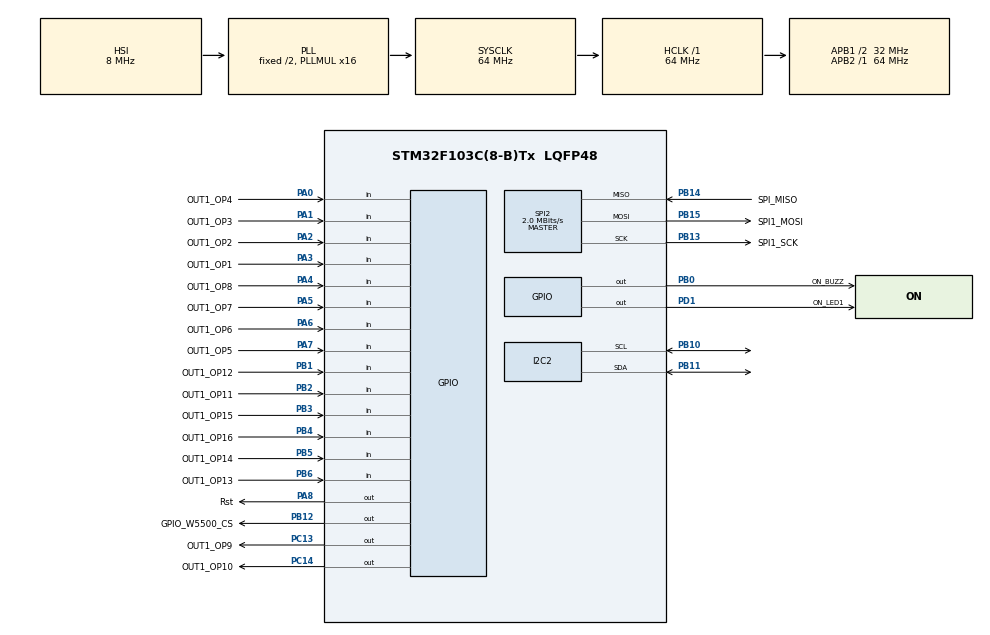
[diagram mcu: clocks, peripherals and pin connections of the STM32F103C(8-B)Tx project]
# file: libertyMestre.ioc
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FREERTOS.Tasks01=ethernetTask,32,128,StartEthernet,Default,NULL,Dynamic,NULL,NULL;readInput1Task,24,128,StartReadInput1,Default,NULL,Dynamic,NULL,NULL;readInput2Task,24,128,StartReadInput2,Default,NULL,Dynamic,NULL,NULL;readInput3Task,24,128,StartReadInput3,Default,NULL,Dynamic,NULL,NULL;readInput4Task,24,128,StartReadInput4,Default,NULL,Dynamic,NULL,NULL
FREERTOS.configTOTAL_HEAP_SIZE=3500
Mcu.Family=STM32F1
Mcu.Name=STM32F103C(8-B)Tx
Mcu.Package=LQFP48
NVIC.PriorityGroup=NVIC_PRIORITYGROUP_4
NVIC.TIM1_UP_IRQn=true\:0\:0\:false\:false\:true\:false\:false\:true
NVIC.TimeBase=TIM1_UP_IRQn
NVIC.TimeBaseIP=TIM1
PA0-WKUP.GPIO_Label=OUT1_OP4
PA0-WKUP.Signal=GPIO_Input
PA1.GPIO_Label=OUT1_OP3
PA1.Signal=GPIO_Input
PA13.Mode=Serial_Wire
PA13.Signal=SYS_JTMS-SWDIO
PA14.Mode=Serial_Wire
PA14.Signal=SYS_JTCK-SWCLK
PA2.GPIO_Label=OUT1_OP2
PA2.Signal=GPIO_Input
PA3.GPIO_Label=OUT1_OP1
PA3.Signal=GPIO_Input
PA4.GPIO_Label=OUT1_OP8
PA4.Signal=GPIO_Input
PA5.GPIO_Label=OUT1_OP7
PA5.Signal=GPIO_Input
PA6.GPIO_Label=OUT1_OP6
PA6.Signal=GPIO_Input
PA7.GPIO_Label=OUT1_OP5
PA7.Signal=GPIO_Input
PA8.GPIO_Label=Rst
PA8.GPIO_ModeDefaultOutputPP=GPIO_MODE_OUTPUT_PP
PA8.GPIO_PuPd=GPIO_PULLUP
PA8.PinState=GPIO_PIN_SET
PA8.Signal=GPIO_Output
PB0.GPIO_Label=ON_BUZZ
PB0.Signal=GPIO_Output
PB1.GPIO_Label=OUT1_OP12
PB1.Signal=GPIO_Input
PB10.Mode=I2C
PB10.Signal=I2C2_SCL
PB11.Mode=I2C
PB11.Signal=I2C2_SDA
PB12.GPIO_Label=GPIO_W5500_CS
PB12.Signal=GPIO_Output
PB13.GPIO_Label=SPI1_SCK
PB13.Mode=Full_Duplex_Master
PB13.Signal=SPI2_SCK
PB14.GPIO_Label=SPI_MISO
PB14.Mode=Full_Duplex_Master
PB14.Signal=SPI2_MISO
PB15.GPIO_Label=SPI1_MOSI
PB15.Mode=Full_Duplex_Master
PB15.Signal=SPI2_MOSI
PB2.GPIO_Label=OUT1_OP11
PB2.Signal=GPIO_Input
PB3.GPIO_Label=OUT1_OP15
PB3.Signal=GPIO_Input
PB4.GPIO_Label=OUT1_OP16
PB4.Signal=GPIO_Input
PB5.GPIO_Label=OUT1_OP14
PB5.Signal=GPIO_Input
PB6.GPIO_Label=OUT1_OP13
PB6.Signal=GPIO_Input
PC13-TAMPER-RTC.GPIO_Label=OUT1_OP9
PC13-TAMPER-RTC.Signal=GPIO_Output
PC14-OSC32_IN.GPIO_Label=OUT1_OP10
PC14-OSC32_IN.Signal=GPIO_Output
PD1-OSC_OUT.GPIO_Label=ON_LED1
PD1-OSC_OUT.Signal=GPIO_Output
ProjectManager.HeapSize=0x200
ProjectManager.StackSize=0x400
ProjectManager.TargetToolchain=STM32CubeIDE
RCC.AHBFreq_Value=64000000
RCC.APB1CLKDivider=RCC_HCLK_DIV2
RCC.APB1Freq_Value=32000000
RCC.APB1TimFreq_Value=64000000
RCC.APB2Freq_Value=64000000
RCC.APB2TimFreq_Value=64000000
RCC.HCLKFreq_Value=64000000
RCC.PLLMUL=RCC_PLL_MUL16
RCC.SYSCLKFreq_VALUE=64000000
RCC.SYSCLKSource=RCC_SYSCLKSOURCE_PLLCLK
RCC.USBFreq_Value=64000000
SPI2.BaudRatePrescaler=SPI_BAUDRATEPRESCALER_16
SPI2.CalculateBaudRate=2.0 MBits/s
SPI2.Direction=SPI_DIRECTION_2LINES
SPI2.Mode=SPI_MODE_MASTER
SPI2.VirtualType=VM_MASTER
VP_FREERTOS_VS_CMSIS_V2.Mode=CMSIS_V2
VP_SYS_VS_tim1.Mode=TIM1
board=custom

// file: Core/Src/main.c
/* USER CODE BEGIN Header */
/**
  ******************************************************************************
  * @file           : main.c
  * @brief          : Main program body
  ******************************************************************************
  * @attention
  *
  * <h2><center>&copy; Copyright (c) 2021 STMicroelectronics.
  * All rights reserved.</center></h2>
  *
  * This software component is licensed by ST under BSD 3-Clause license,
  * the "License"; You may not use this file except in compliance with the
  * License. You may obtain a copy of the License at:
  *                        opensource.org/licenses/BSD-3-Clause
  *
  ******************************************************************************
  */
/* USER CODE END Header */

#include "main.h"
#include "cmsis_os.h"

/* USER CODE BEGIN Includes */
#include "socket.h"
#include <stdio.h>
#include <stdlib.h>
#include <stdarg.h>
#include <string.h>
/* USER CODE END Includes */

/* USER CODE BEGIN PD */
#define W5500_select() HAL_GPIO_WritePin(GPIO_W5500_CS_GPIO_Port, GPIO_W5500_CS_Pin, GPIO_PIN_RESET);
#define W5500_release() HAL_GPIO_WritePin(GPIO_W5500_CS_GPIO_Port, GPIO_W5500_CS_Pin, GPIO_PIN_SET);

#define W5500_rx() W5500_rxtx(0xff)
#define W5500_tx(data) W5500_rxtx(data)

#define NETWORK_STORAGE 0x0800C000
#define	INTERFACE_STORAGE 0x0800D000
#define page_size 0x800
/* USER CODE END PD */

I2C_HandleTypeDef hi2c2;

SPI_HandleTypeDef hspi2;

/* Definitions for ethernetTask */
osThreadId_t ethernetTaskHandle;
const osThreadAttr_t ethernetTask_attributes = {
  .name = "ethernetTask",
  .priority = (osPriority_t) osPriorityAboveNormal,
  .stack_size = 128 * 4
};
/* Definitions for readInput1Task */
osThreadId_t readInput1TaskHandle;
const osThreadAttr_t readInput1Task_attributes = {
  .name = "readInput1Task",
  .priority = (osPriority_t) osPriorityNormal,
  .stack_size = 128 * 4
};
/* Definitions for readInput2Task */
osThreadId_t readInput2TaskHandle;
const osThreadAttr_t readInput2Task_attributes = {
  .name = "readInput2Task",
  .priority = (osPriority_t) osPriorityNormal,
  .stack_size = 128 * 4
};
/* Definitions for readInput3Task */
osThreadId_t readInput3TaskHandle;
const osThreadAttr_t readInput3Task_attributes = {
  .name = "readInput3Task",
  .priority = (osPriority_t) osPriorityNormal,
  .stack_size = 128 * 4
};
/* Definitions for readInput4Task */
osThreadId_t readInput4TaskHandle;
const osThreadAttr_t readInput4Task_attributes = {
  .name = "readInput4Task",
  .priority = (osPriority_t) osPriorityNormal,
  .stack_size = 128 * 4
};
/* USER CODE BEGIN PV */
#define DATA_BUF_SIZE   4096
uint8_t gDATABUF[DATA_BUF_SIZE];
uint8_t config_data[300];

uint8_t inputs[16] = {0,0,0,0,0,0,0,0,0,0,0,0,0,0,0,0};
uint8_t ip[4], mask[4], gateway[4], dns1[4], dns2[4], port = 80;
char ipStr[15];
///////////////////////////////////
// Default Network Configuration //
///////////////////////////////////
wiz_NetInfo gWIZNETINFO = { .mac = {0xDE, 0xAD, 0xBE, 0xEF, 0xFE, 0xED},
							.ip = {192, 168, 0, 231},
							.sn = {255,255,255,0},
							.gw = {192, 168, 0, 1},
							.dns = {0,0,0,0},
							.dhcp = NETINFO_STATIC };

//states for multythread http
#define HTTP_IDLE 0
#define HTTP_SENDING 1

//variables for multythread http
uint32_t sentsize[_WIZCHIP_SOCK_NUM_];
uint32_t filesize[_WIZCHIP_SOCK_NUM_];
uint8_t http_state[_WIZCHIP_SOCK_NUM_];
/* USER CODE END PV */

void SystemClock_Config(void);
static void MX_GPIO_Init(void);
static void MX_SPI2_Init(void);
static void MX_I2C2_Init(void);
void StartEthernet(void *argument);
void StartReadInput1(void *argument);
void StartReadInput2(void *argument);
void StartReadInput3(void *argument);
void StartReadInput4(void *argument);

/* USER CODE BEGIN PFP */
uint8_t W5500_rxtx(uint8_t data);
void  wizchip_select(void);
void  wizchip_deselect(void);
void  wizchip_write(uint8_t wb);
uint8_t wizchip_read();
void network_init(void);								// Initialize Network information and display it
int32_t tcp_http_mt(uint8_t, uint8_t*, uint16_t);		// Multythread TCP server
void HTTP_reset(uint8_t sockn);
void read_flash(uint8_t* data, uint32_t ADDRESS);		//Reads data from the flash memory
void save_to_flash(uint8_t* data, uint32_t ADDRESS);		//Writes data to the flash memory
uint8_t *strremove(uint8_t *str, const uint8_t *sub);
void configNetwork();
void configInterfaces();
/* USER CODE END PFP */

int main(void)
{

  /* MCU Configuration--------------------------------------------------------*/

  /* Reset of all peripherals, Initializes the Flash interface and the Systick. */
  HAL_Init();

  /* Configure the system clock */
  SystemClock_Config();

  /* Initialize all configured peripherals */
  MX_GPIO_Init();
  MX_SPI2_Init();
  MX_I2C2_Init();
  /* USER CODE BEGIN 2 */
  configNetwork();
  configInterfaces();
  /* USER CODE END 2 */

  /* Init scheduler */
  osKernelInitialize();

  /* Create the thread(s) */
  /* creation of ethernetTask */
  ethernetTaskHandle = osThreadNew(StartEthernet, NULL, &ethernetTask_attributes);

  /* creation of readInput1Task */
  readInput1TaskHandle = osThreadNew(StartReadInput1, NULL, &readInput1Task_attributes);

  /* creation of readInput2Task */
  readInput2TaskHandle = osThreadNew(StartReadInput2, NULL, &readInput2Task_attributes);

  /* creation of readInput3Task */
  readInput3TaskHandle = osThreadNew(StartReadInput3, NULL, &readInput3Task_attributes);

  /* creation of readInput4Task */
  readInput4TaskHandle = osThreadNew(StartReadInput4, NULL, &readInput4Task_attributes);

  /* Start scheduler */
  osKernelStart();

  /* We should never get here as control is now taken by the scheduler */
  /* Infinite loop */
  while (1)
  {

  }
}

void SystemClock_Config(void)
{
  RCC_OscInitTypeDef RCC_OscInitStruct = {0};
  RCC_ClkInitTypeDef RCC_ClkInitStruct = {0};

  /** Initializes the CPU, AHB and APB busses clocks
  */
  RCC_OscInitStruct.OscillatorType = RCC_OSCILLATORTYPE_HSI;
  RCC_OscInitStruct.HSIState = RCC_HSI_ON;
  RCC_OscInitStruct.HSICalibrationValue = RCC_HSICALIBRATION_DEFAULT;
  RCC_OscInitStruct.PLL.PLLState = RCC_PLL_ON;
  RCC_OscInitStruct.PLL.PLLSource = RCC_PLLSOURCE_HSI_DIV2;
  RCC_OscInitStruct.PLL.PLLMUL = RCC_PLL_MUL16;
  if (HAL_RCC_OscConfig(&RCC_OscInitStruct) != HAL_OK)
  {
    Error_Handler();
  }
  /** Initializes the CPU, AHB and APB busses clocks
  */
  RCC_ClkInitStruct.ClockType = RCC_CLOCKTYPE_HCLK|RCC_CLOCKTYPE_SYSCLK
                              |RCC_CLOCKTYPE_PCLK1|RCC_CLOCKTYPE_PCLK2;
  RCC_ClkInitStruct.SYSCLKSource = RCC_SYSCLKSOURCE_PLLCLK;
  RCC_ClkInitStruct.AHBCLKDivider = RCC_SYSCLK_DIV1;
  RCC_ClkInitStruct.APB1CLKDivider = RCC_HCLK_DIV2;
  RCC_ClkInitStruct.APB2CLKDivider = RCC_HCLK_DIV1;

  if (HAL_RCC_ClockConfig(&RCC_ClkInitStruct, FLASH_LATENCY_2) != HAL_OK)
  {
    Error_Handler();
  }
}

static void MX_I2C2_Init(void)
{

  hi2c2.Instance = I2C2;
  hi2c2.Init.ClockSpeed = 100000;
  hi2c2.Init.DutyCycle = I2C_DUTYCYCLE_2;
  hi2c2.Init.OwnAddress1 = 0;
  hi2c2.Init.AddressingMode = I2C_ADDRESSINGMODE_7BIT;
  hi2c2.Init.DualAddressMode = I2C_DUALADDRESS_DISABLE;
  hi2c2.Init.OwnAddress2 = 0;
  hi2c2.Init.GeneralCallMode = I2C_GENERALCALL_DISABLE;
  hi2c2.Init.NoStretchMode = I2C_NOSTRETCH_DISABLE;
  if (HAL_I2C_Init(&hi2c2) != HAL_OK)
  {
    Error_Handler();
  }

}

static void MX_SPI2_Init(void)
{

  /* SPI2 parameter configuration*/
  hspi2.Instance = SPI2;
  hspi2.Init.Mode = SPI_MODE_MASTER;
  hspi2.Init.Direction = SPI_DIRECTION_2LINES;
  hspi2.Init.DataSize = SPI_DATASIZE_8BIT;
  hspi2.Init.CLKPolarity = SPI_POLARITY_LOW;
  hspi2.Init.CLKPhase = SPI_PHASE_1EDGE;
  hspi2.Init.NSS = SPI_NSS_SOFT;
  hspi2.Init.BaudRatePrescaler = SPI_BAUDRATEPRESCALER_16;
  hspi2.Init.FirstBit = SPI_FIRSTBIT_MSB;
  hspi2.Init.TIMode = SPI_TIMODE_DISABLE;
  hspi2.Init.CRCCalculation = SPI_CRCCALCULATION_DISABLE;
  hspi2.Init.CRCPolynomial = 10;
  if (HAL_SPI_Init(&hspi2) != HAL_OK)
  {
    Error_Handler();
  }

}

static void MX_GPIO_Init(void)
{
  GPIO_InitTypeDef GPIO_InitStruct = {0};

  /* GPIO Ports Clock Enable */
  __HAL_RCC_GPIOC_CLK_ENABLE();
  __HAL_RCC_GPIOD_CLK_ENABLE();
  __HAL_RCC_GPIOA_CLK_ENABLE();
  __HAL_RCC_GPIOB_CLK_ENABLE();

  /*Configure GPIO pin Output Level */
  HAL_GPIO_WritePin(GPIOC, OUT1_OP9_Pin|OUT1_OP10_Pin, GPIO_PIN_RESET);

  /*Configure GPIO pin Output Level */
  HAL_GPIO_WritePin(ON_LED1_GPIO_Port, ON_LED1_Pin, GPIO_PIN_RESET);

  /*Configure GPIO pin Output Level */
  HAL_GPIO_WritePin(GPIOB, ON_BUZZ_Pin|GPIO_W5500_CS_Pin, GPIO_PIN_RESET);

  /*Configure GPIO pin Output Level */
  HAL_GPIO_WritePin(Rst_GPIO_Port, Rst_Pin, GPIO_PIN_SET);

  /*Configure GPIO pins : OUT1_OP9_Pin OUT1_OP10_Pin */
  GPIO_InitStruct.Pin = OUT1_OP9_Pin|OUT1_OP10_Pin;
  GPIO_InitStruct.Mode = GPIO_MODE_OUTPUT_PP;
  GPIO_InitStruct.Pull = GPIO_NOPULL;
  GPIO_InitStruct.Speed = GPIO_SPEED_FREQ_LOW;
  HAL_GPIO_Init(GPIOC, &GPIO_InitStruct);

  /*Configure GPIO pin : ON_LED1_Pin */
  GPIO_InitStruct.Pin = ON_LED1_Pin;
  GPIO_InitStruct.Mode = GPIO_MODE_OUTPUT_PP;
  GPIO_InitStruct.Pull = GPIO_NOPULL;
  GPIO_InitStruct.Speed = GPIO_SPEED_FREQ_LOW;
  HAL_GPIO_Init(ON_LED1_GPIO_Port, &GPIO_InitStruct);

  /*Configure GPIO pins : OUT1_OP4_Pin OUT1_OP3_Pin OUT1_OP2_Pin OUT1_OP1_Pin
                           OUT1_OP8_Pin OUT1_OP7_Pin OUT1_OP6_Pin OUT1_OP5_Pin */
  GPIO_InitStruct.Pin = OUT1_OP4_Pin|OUT1_OP3_Pin|OUT1_OP2_Pin|OUT1_OP1_Pin
                          |OUT1_OP8_Pin|OUT1_OP7_Pin|OUT1_OP6_Pin|OUT1_OP5_Pin;
  GPIO_InitStruct.Mode = GPIO_MODE_INPUT;
  GPIO_InitStruct.Pull = GPIO_NOPULL;
  HAL_GPIO_Init(GPIOA, &GPIO_InitStruct);

  /*Configure GPIO pins : ON_BUZZ_Pin GPIO_W5500_CS_Pin */
  GPIO_InitStruct.Pin = ON_BUZZ_Pin|GPIO_W5500_CS_Pin;
  GPIO_InitStruct.Mode = GPIO_MODE_OUTPUT_PP;
  GPIO_InitStruct.Pull = GPIO_NOPULL;
  GPIO_InitStruct.Speed = GPIO_SPEED_FREQ_LOW;
  HAL_GPIO_Init(GPIOB, &GPIO_InitStruct);

  /*Configure GPIO pins : OUT1_OP12_Pin OUT1_OP11_Pin OUT1_OP15_Pin OUT1_OP16_Pin
                           OUT1_OP14_Pin OUT1_OP13_Pin */
  GPIO_InitStruct.Pin = OUT1_OP12_Pin|OUT1_OP11_Pin|OUT1_OP15_Pin|OUT1_OP16_Pin
                          |OUT1_OP14_Pin|OUT1_OP13_Pin;
  GPIO_InitStruct.Mode = GPIO_MODE_INPUT;
  GPIO_InitStruct.Pull = GPIO_NOPULL;
  HAL_GPIO_Init(GPIOB, &GPIO_InitStruct);

  /*Configure GPIO pin : Rst_Pin */
  GPIO_InitStruct.Pin = Rst_Pin;
  GPIO_InitStruct.Mode = GPIO_MODE_OUTPUT_PP;
  GPIO_InitStruct.Pull = GPIO_PULLUP;
  GPIO_InitStruct.Speed = GPIO_SPEED_FREQ_LOW;
  HAL_GPIO_Init(Rst_GPIO_Port, &GPIO_InitStruct);

  /*Configure peripheral I/O remapping */
  __HAL_AFIO_REMAP_PD01_ENABLE();

}

/* USER CODE BEGIN 4 */
uint8_t W5500_rxtx(uint8_t data)
{
	uint8_t rxdata;

	HAL_SPI_TransmitReceive(&hspi2, &data, &rxdata, 1, 50);

	return (rxdata);
}

//////////
// TODO //
/////////////////////////////////////////////////////////////////
// SPI Callback function for accessing WIZCHIP                 //
// WIZCHIP user should implement with your host spi peripheral //
/////////////////////////////////////////////////////////////////
void  wizchip_select(void)
{
	W5500_select();
}

void  wizchip_deselect(void)
{
	W5500_release();
}

void  wizchip_write(uint8_t wb)
{
	W5500_tx(wb);
}

uint8_t wizchip_read()
{
   return W5500_rx();
}
//////////////////////////////////////////////////////////////////////////

/////////////////////////////////////////////////////////////
// Intialize the network information to be used in WIZCHIP //
/////////////////////////////////////////////////////////////
void network_init(void)
{
   uint8_t tmpstr[6];

	ctlnetwork(CN_SET_NETINFO, (void*)&gWIZNETINFO);

	ctlwizchip(CW_GET_ID,(void*)tmpstr);
}
/////////////////////////////////////////////////////////////

///////////////////////////////////////////////////////////////
// HTTP Multythread Example Code using ioLibrary_BSD         //
///////////////////////////////////////////////////////////////
#define len(some) (sizeof(some)/sizeof(some[0]))

//http server

void HTTP_reset(uint8_t sockn)
{
    sentsize[sockn]=0;
	http_state[sockn]=HTTP_IDLE;
}

int32_t tcp_http_mt(uint8_t sn, uint8_t* buf, uint16_t port)
{
   int32_t ret;
   uint32_t size = 0;
   uint8_t flagHtmlGen = 0;
   char *url,*p;
   uint16_t blocklen=0;

   switch(getSn_SR(sn))
   {
      case SOCK_ESTABLISHED :

         if(getSn_IR(sn) & Sn_IR_CON)
         {
            setSn_IR(sn,Sn_IR_CON);
         }

         if((size = getSn_RX_RSR(sn)) > 0)
         {
            if(size > DATA_BUF_SIZE) size = DATA_BUF_SIZE;
            ret = recv(sn,buf,size);

            HTTP_reset(sn);

            if(ret <= 0)
            return ret;

            url =(char*) buf + 4;

            if((http_state[sn]==HTTP_IDLE)&&(memcmp(buf, "GET ", 4)==0)&&((p = strchr(url, ' '))))// extract URL from request header
            {
              *(p++) = 0;//making zeroed url string

				if ((url != NULL)&&(strncmp("/favicon.ico",url,12) != 0))
				{
					flagHtmlGen = 1;
					if (strncmp("/ip:",url,4) == 0)
					{
						memset(config_data, 0, sizeof(config_data));
						strcpy(config_data, url);
						save_to_flash(config_data, NETWORK_STORAGE);
						configNetwork();
					}
					if(strncmp("/interfaces2/ip", url, 14) == 0)
					{
						memset(config_data, 0, sizeof(config_data));
						strcpy(config_data, url);
						save_to_flash(config_data, INTERFACE_STORAGE);
					}
					if(strncmp("/con/ip", url, 7) == 0)
					{
						strcat(config_data, url);
						save_to_flash(config_data, INTERFACE_STORAGE);
					}

					//Gera��o da HTML
					if(flagHtmlGen == 1)
					{
						if(strncmp("/rede", url, 4) == 0)
						{
							strcpy((char*)buf,"HTTP/1.0 200 OK\r\nContent-Type: text/html\r\n\r\n");
							strcat((char*)buf, "<html><head>");
							strcat((char*)buf, "<title>Mestre Config</title>");
							strcat((char*)buf, "</head>");
							strcat((char*)buf, "<body>");
							strcat((char*)buf, "<b><center>Configuracao da Placa de rede</b></center><br>");
							strcat((char*)buf, "<center><form action=''>");
							strcat((char*)buf, "IP: <input type='text' id='ip'>		Mascara: <input type='text' id='mascara'><br><br>");
							strcat((char*)buf, "Porta: <input type='text' id='porta'>		Gateway: <input type='text' id='gateway'><br><br>");
							strcat((char*)buf, "DNS 1: <input type='text' id='dns1'>		DNS 2: <input type='text' id='dns2'><br><br>");
							strcat((char*)buf, "DHCP: <button>On</button>  <button>Off</button>");
							strcat((char*)buf, "</center></form>");

							strcat((char*)buf, "<script>function configNet() {");
							strcat((char*)buf, "window.open('http://");
							strcat((char*)buf, &ipStr);
							strcat((char*)buf, "/ip:' + document.getElementById('ip').value + ',mask:' + document.getElementById('mascara').value + ',port:' +");
							strcat((char*)buf, "document.getElementById('porta').value + ',gateway:' + document.getElementById('gateway').value + ',dns1:' + document.getElementById('dns1').value +");
							strcat((char*)buf, "',dns2:' + document.getElementById('dns2').value, '_self');}</script>");

							strcat((char*)buf, "<center><button onClick = 'configNet()'>Salvar</button><br><br><a href='http://");
							strcat((char*)buf, &ipStr);
							strcat((char*)buf, "'>Voltar</a><br></center>");

							strcat((char*)buf, "</body>");
							strcat((char*)buf, "</html>");
						}
						else if(strncmp("/interfaces1", url, 12) == 0)
						{
							strcpy((char*)buf,"HTTP/1.0 200 OK\r\nContent-Type: text/html\r\n\r\n");
							strcat((char*)buf, "<html><head><title>Escrava Config</title>");
							strcat((char*)buf, "<center><table border='1'><tr>");
							strcat((char*)buf, "<td><b>Entrada / IP da placa destino</b></td>");
							strcat((char*)buf, "<td><b>Rele da placa destino</b></td></tr>");

							strcat((char*)buf, "<tr><td>1:  <input type='text' id='ip1'></td>");
							strcat((char*)buf, "<td><input type='text' id='r1'></td></tr>");

							strcat((char*)buf, "<tr><td>2:  <input type='text' id='ip2'></td>");
							strcat((char*)buf, "<td><input type='text' id='r2'></td></tr>");

							strcat((char*)buf, "<tr><td>3:  <input type='text' id='ip3'></td>");
							strcat((char*)buf, "<td><input type='text' id='r3'></td></tr>");

							strcat((char*)buf, "<tr><td>4:  <input type='text' id='ip4'></td>");
							strcat((char*)buf, "<td><input type='text' id='r4'></td></tr>");

							strcat((char*)buf, "<tr><td>5:  <input type='text' id='ip5'></td>");
							strcat((char*)buf, "<td><input type='text' id='r5'></td></tr>");

							strcat((char*)buf, "<tr><td>6:  <input type='text' id='ip6'></td>");
							strcat((char*)buf, "<td><input type='text' id='r6'></td></tr>");

							strcat((char*)buf, "<tr><td>7:  <input type='text' id='ip7'></td>");
							strcat((char*)buf, "<td><input type='text' id='r7'></td></tr>");

							strcat((char*)buf, "<tr><td>8:  <input type='text' id='ip8'></td>");
							strcat((char*)buf, "<td><input type='text' id='r8'></td></tr></table><br>");

							strcat((char*)buf, "<script>function configInt() {");
							strcat((char*)buf, "window.open('http://");
							strcat((char*)buf, &ipStr);
							strcat((char*)buf, "/interfaces2/ip1:' + document.getElementById('ip1').value + ',ip2:' + document.getElementById('ip2').value + ',ip3:' +");
							strcat((char*)buf, "document.getElementById('ip3').value + ',ip4:' + document.getElementById('ip4').value + ',ip5:' + document.getElementById('ip5').value +");
							strcat((char*)buf, "',ip6:' + document.getElementById('ip6').value + ',ip7:' + document.getElementById('ip7').value + ',ip8:' + document.getElementById('ip8').value");
							strcat((char*)buf, "+ ',r1:' + document.getElementById('r1').value + ',r2:' + document.getElementById('r2').value ");
							strcat((char*)buf, "+ ',r3:' + document.getElementById('r3').value + ',r4:' + document.getElementById('r4').value ");
							strcat((char*)buf, "+ ',r5:' + document.getElementById('r5').value + ',r6:' + document.getElementById('r6').value ");
							strcat((char*)buf, "+ ',r7:' + document.getElementById('r7').value + ',r8:' + document.getElementById('r8').value, '_self');}</script>");

							strcat((char*)buf, "<button onClick='configInt()'>Proximo</button><br><br><a href='http://");
							strcat((char*)buf, &ipStr);
							strcat((char*)buf, "'>Voltar</a><br></center>");

							strcat((char*)buf, "</body>");
							strcat((char*)buf, "</html>");
						}
						else if(strncmp("/interfaces2", url, 12) == 0)
						{
							strcpy((char*)buf,"HTTP/1.0 200 OK\r\nContent-Type: text/html\r\n\r\n");
							strcat((char*)buf, "<html><head><title>Escrava Config</title>");
							strcat((char*)buf, "<center><table border='1'><tr>");
							strcat((char*)buf, "<td><b>Entrada / IP da placa destino</b></td>");
							strcat((char*)buf, "<td><b>Rele da placa destino</b></td></tr>");

							strcat((char*)buf, "<tr><td>9:  <input type='text' id='ip9'></td>");
							strcat((char*)buf, "<td><input type='text' id='r9'></td></tr>");

							strcat((char*)buf, "<tr><td>10:  <input type='text' id='ip10'></td>");
							strcat((char*)buf, "<td><input type='text' id='r10'></td></tr>");

							strcat((char*)buf, "<tr><td>11:  <input type='text' id='ip11'></td>");
							strcat((char*)buf, "<td><input type='text' id='r11'></td></tr>");

							strcat((char*)buf, "<tr><td>12:  <input type='text' id='ip12'></td>");
							strcat((char*)buf, "<td><input type='text' id='r12'></td></tr>");

							strcat((char*)buf, "<tr><td>13:  <input type='text' id='ip13'></td>");
							strcat((char*)buf, "<td><input type='text' id='r13'></td></tr>");

							strcat((char*)buf, "<tr><td>14:  <input type='text' id='ip14'></td>");
							strcat((char*)buf, "<td><input type='text' id='r14'></td></tr>");

							strcat((char*)buf, "<tr><td>15:  <input type='text' id='ip15'></td>");
							strcat((char*)buf, "<td><input type='text' id='r15'></td></tr>");

							strcat((char*)buf, "<tr><td>16:  <input type='text' id='ip16'></td>");
							strcat((char*)buf, "<td><input type='text' id='r16'></td></tr></table><br>");

							strcat((char*)buf, "<script>function configInt() {");
							strcat((char*)buf, "window.open('http://");
							strcat((char*)buf, &ipStr);
							strcat((char*)buf, "/con/ip9:' + document.getElementById('ip9').value + ',ip10:' + document.getElementById('ip10').value + ',ip11:' +");
							strcat((char*)buf, "document.getElementById('ip11').value + ',ip12:' + document.getElementById('ip12').value + ',ip13:' + document.getElementById('ip13').value +");
							strcat((char*)buf, "',ip14:' + document.getElementById('ip14').value + ',ip15:' + document.getElementById('ip15').value + ',ip16' + document.getElementById('ip16').value");
							strcat((char*)buf, "+ ',r9:' + document.getElementById('r9').value + ',r10:' + document.getElementById('r10').value ");
							strcat((char*)buf, "+ ',r11:' + document.getElementById('r11').value + ',r12:' + document.getElementById('r12').value ");
							strcat((char*)buf, "+ ',r13:' + document.getElementById('r13').value + ',r14:' + document.getElementById('r14').value ");
							strcat((char*)buf, "+ ',r15:' + document.getElementById('r15').value + ',r16:' + document.getElementById('r16').value, '_self');}</script>");
							strcat((char*)buf, "<button onClick='configInt()'>Salvar</button><br><br><a href='http://");
							strcat((char*)buf, &ipStr);
							strcat((char*)buf, "'>Voltar</a><br></center>");

							strcat((char*)buf, "</body>");
							strcat((char*)buf, "</html>");

						}
						else
						{
							strcpy((char*)buf,"HTTP/1.0 200 OK\r\nContent-Type: text/html\r\n\r\n");
							strcat((char*)buf, "<html><head>");
							strcat((char*)buf, "<title>Escrava Config</title>");
							strcat((char*)buf, "</head>");
							strcat((char*)buf, "<body>");
							strcat((char*)buf, "<div class = 'entradas'>");

							strcat((char*)buf, "<b><center>Menus para configuracao</b><br><br>");
							strcat((char*)buf, "<a href='http://");
							strcat((char*)buf, &ipStr);
							strcat((char*)buf,"/rede'>Configurar rede</a><br><br>");
							strcat((char*)buf, "<a href='http://");
							strcat((char*)buf, &ipStr);
							strcat((char*)buf, "/interfaces1'>Configurar interfaces\n</a><br>");

							strcat((char*)buf, "</div>");
							strcat((char*)buf, "</body>");
							strcat((char*)buf, "</html>");
						}

						blocklen = strlen((char*)buf);

						ret = send(sn,buf,blocklen);
						if(ret < 0)
						{
							close(sn);
							return ret;
						}
						else
						{
							HTTP_reset(sn);
							disconnect(sn);
						}
					}
				}
				else
				{
					HTTP_reset(sn);
					disconnect(sn);
				}

        	  }
         }
         break;
      case SOCK_CLOSE_WAIT :

    	  HTTP_reset(sn);

         if((ret=disconnect(sn)) != SOCK_OK)
         return ret;

         break;
      case SOCK_INIT :

    	  HTTP_reset(sn);

         if( (ret = listen(sn)) != SOCK_OK) return ret;
         break;
      case SOCK_CLOSED:

    	  HTTP_reset(sn);

         if((ret=socket(sn,Sn_MR_TCP,port,0x00)) != sn)
         return ret;

         break;

      default:
    	  HTTP_reset(sn);
         break;
   }
   return 1;
}

void save_to_flash(uint8_t *data, uint32_t ADDRESS)
{
	volatile uint32_t data_to_FLASH[(strlen((char*)data)/4)	+ (int)((strlen((char*)data) % 4) != 0)];
	memset((uint8_t*)data_to_FLASH, 0, strlen((char*)data_to_FLASH));
	strcpy((char*)data_to_FLASH, (char*)data);

	volatile uint32_t data_length = (strlen((char*)data_to_FLASH) / 4)
									+ (int)((strlen((char*)data_to_FLASH) % 4) != 0);
	volatile uint16_t pages = (strlen((char*)data)/page_size)
									+ (int)((strlen((char*)data)%page_size) != 0);
	  /* Unlock the Flash to enable the flash control register access *************/
	  HAL_FLASH_Unlock();

	  /* Allow Access to option bytes sector */
	  HAL_FLASH_OB_Unlock();

	  /* Fill EraseInit structure*/
	  FLASH_EraseInitTypeDef EraseInitStruct;
	  EraseInitStruct.TypeErase = FLASH_TYPEERASE_PAGES;
	  EraseInitStruct.PageAddress = ADDRESS;
	  EraseInitStruct.NbPages = pages;
	  uint32_t PageError;

	  volatile uint32_t write_cnt=0, index=0;

	  volatile HAL_StatusTypeDef status;
	  status = HAL_FLASHEx_Erase(&EraseInitStruct, &PageError);
	  while(index < data_length)
	  {
		  if (status == HAL_OK)
		  {
			  status = HAL_FLASH_Program(FLASH_TYPEPROGRAM_WORD, ADDRESS+write_cnt, data_to_FLASH[index]);
			  if(status == HAL_OK)
			  {
				  write_cnt += 4;
				  index++;
			  }
		  }
	  }

	  HAL_FLASH_OB_Lock();
	  HAL_FLASH_Lock();
}

void read_flash(uint8_t* data, uint32_t ADDRESS)
{
	volatile uint32_t read_data;
	volatile uint32_t read_cnt=0;
	do
	{
		read_data = *(uint32_t*)(ADDRESS + read_cnt);
		if(read_data != 0xFFFFFFFF)
		{
			data[read_cnt] = (uint8_t)read_data;
			data[read_cnt + 1] = (uint8_t)(read_data >> 8);
			data[read_cnt + 2] = (uint8_t)(read_data >> 16);
			data[read_cnt + 3] = (uint8_t)(read_data >> 24);
			read_cnt += 4;
		}
	}while(read_data != 0xFFFFFFFF);
}

uint8_t *strremove(uint8_t *str, const uint8_t *sub) {
    uint8_t *p, *q, *r;
    if ((q = r = strstr(str, sub)) != NULL) {
        size_t len = strlen(sub);
        while ((r = strstr(p = r + len, sub)) != NULL) {
            memmove(q, p, r - p);
            q += r - p;
        }
        memmove(q, p, strlen(p) + 1);
    }
    return str;
}

void configNetwork()
{
	uint8_t i;
	uint8_t memsize[2][8] = {{2,2,2,2,2,2,2,2},{2,2,2,2,2,2,2,2}};
	read_flash(config_data, NETWORK_STORAGE);
	if(config_data[0] == '/' && config_data[1] == 'i' && config_data[2] == 'p')
	{
		strremove(config_data, "/ip:");
		strremove(config_data, "mask:");
		strremove(config_data, "port:");
		strremove(config_data, "gateway:");
		strremove(config_data, "dns1:");
		strremove(config_data, "dns2:");
		uint8_t *p, *ipPointer, *maskPointer, *portPointer, *gatewayPointer, *dns1Pointer, *dns2Pointer;
		p = strtok(config_data, ",");

		for(int i = 0; p != NULL; i++)
		{
			switch(i)
			{
				case 0:
					ipPointer = p;
					break;
				case 1:
					maskPointer = p;
					break;
				case 2:
					portPointer = p;
					break;
				case 3:
					gatewayPointer = p;
					break;
				case 4:
					dns1Pointer = p;
					break;
				case 5:
					dns2Pointer = p;
					break;
				default:
					break;
			}
			p = strtok(NULL, ",");
		}

		p = strtok(ipPointer, ".");

		for(int i = 0; p != NULL; i++)
		{
			ip[i] = atoi(p);
			p = strtok(NULL, ".");
		}

		p = strtok(maskPointer, ".");

		for(int i = 0; p != NULL; i++)
		{
			mask[i] = atoi(p);
			p = strtok(NULL, ".");
		}

		p = strtok(gatewayPointer, ".");

		for(int i = 0; p != NULL; i++)
		{
			gateway[i] = atoi(p);
			p = strtok(NULL, ".");
		}

		p = strtok(dns1Pointer, ".");

		for(int i = 0; p != NULL; i++)
		{
			dns1[i] = atoi(p);
			p = strtok(NULL, ".");
		}

		p = strtok(dns2Pointer, ".");

		for(int i = 0; p != NULL; i++)
		{
			dns2[i] = atoi(p);
			p = strtok(NULL, ".");
		}

		port = atoi(portPointer);

		wiz_NetInfo wizNet = { .mac = {0xDE, 0xAD, 0xBE, 0xEF, 0xFE, 0xED},
				.ip = {ip[0], ip[1], ip[2], ip[3]},
				.sn = {mask[0], mask[1], mask[2], mask[3]},
				.gw = {gateway[0], gateway[1], gateway[2], gateway[3]},
				.dns = {dns1[0], dns1[1], dns1[2], dns1[3]},
				.dhcp = NETINFO_STATIC };

		gWIZNETINFO = wizNet;

	  	HAL_GPIO_WritePin(Rst_GPIO_Port, Rst_Pin, GPIO_PIN_RESET);
	  	HAL_Delay(500);
	  	HAL_GPIO_WritePin(Rst_GPIO_Port, Rst_Pin, GPIO_PIN_SET);
	  	HAL_Delay(50);
	}
	else
	{
		ip[0] = gWIZNETINFO.ip[0];
		ip[1] = gWIZNETINFO.ip[1];
		ip[2] = gWIZNETINFO.ip[2];
		ip[3] = gWIZNETINFO.ip[3];
	}

	uint8_t aux;
	int c = 14;
	ipStr[3] = '.';
	ipStr[7] = '.';
	ipStr[11] = '.';
	for(int j = 3; j >= 0; j --)
	{
		for(int i = 0; i < 3; i++)
		{
			ipStr[c - i] = ip[j] % 10 + '0';
			ip[j] /= 10;
		}
		c -= 4;
	}
	/* Chip selection call back */
	reg_wizchip_cs_cbfunc(wizchip_select, wizchip_deselect);

	/* SPI Read & Write callback function */
	reg_wizchip_spi_cbfunc(wizchip_read, wizchip_write);

	///////////////////////////////////////////////////////////////////////
	/* WIZCHIP SOCKET Buffer initialize */
	if(ctlwizchip(CW_INIT_WIZCHIP,(void*)memsize) == -1)
	{
		//init fail
		while(1);
	}

	/* Network initialization */
 	network_init();

	//all connections inactive
	for(i=0;i<_WIZCHIP_SOCK_NUM_;i++)
		HTTP_reset(i);
}

void configInterfaces()
{
	read_flash(config_data, INTERFACE_STORAGE);
	if(config_data[0] == '/' && config_data[1] == 'i' && config_data[2] == 'n')
	{
		strremove(config_data, "/interfaces2/");
		strremove(config_data, "/con/");
		strremove(config_data, "ip1:");
		strremove(config_data, "ip2:");
		strremove(config_data, "ip3:");
		strremove(config_data, "ip4:");
		strremove(config_data, "ip5:");
		strremove(config_data, "ip6:");
		strremove(config_data, "ip7:");
		strremove(config_data, "ip8:");
		strremove(config_data, "ip9:");
		strremove(config_data, "ip10:");
		strremove(config_data, "ip11:");
		strremove(config_data, "ip12:");
		strremove(config_data, "ip13:");
		strremove(config_data, "ip14:");
		strremove(config_data, "ip15:");
		strremove(config_data, "ip16:");
		strremove(config_data, "r1:");
		strremove(config_data, "r2:");
		strremove(config_data, "r3:");
		strremove(config_data, "r4:");
		strremove(config_data, "r5:");
		strremove(config_data, "r6:");
		strremove(config_data, "r7:");
		strremove(config_data, "r8:");
		strremove(config_data, "r9:");
		strremove(config_data, "r10:");
		strremove(config_data, "r11:");
		strremove(config_data, "r12:");
		strremove(config_data, "r13:");
		strremove(config_data, "r14:");
		strremove(config_data, "r15:");
		strremove(config_data, "r16:");

		uint8_t *ip1, *ip2, *ip3, *ip4, *ip5, *ip6, *ip7, *ip8, *ip9, *ip10, *ip11, *ip12, *ip13, *ip14, *ip15, *ip16;
		uint8_t *r1, *r2, *r3, *r4, *r5, *r6, *r7, *r8, *r9, *r10, *r11, *r12, *r13, *r14, *r15, *r16, *p;

		p = strtok(config_data, ",");

		for(int i = 0; p != NULL; i++)
		{
			switch(i)
			{
				case 0:
					ip1 = p;
					break;
				case 1:
					ip2 = p;
					break;
				case 2:
					ip3= p;
					break;
				case 3:
					ip4 = p;
					break;
				case 4:
					ip5 = p;
					break;
				case 5:
					ip6 = p;
					break;
				case 6:
					ip7 = p;
					break;
				case 7:
					ip8 = p;
					break;
				case 8:
					r1 = p;
					break;
				case 9:
					r2 = p;
					break;
				case 10:
					r3 = p;
					break;
				case 11:
					r4 = p;
					break;
				case 12:
					r5 = p;
					break;
				case 13:
					r6 = p;
					break;
				case 14:
					r7 = p;
					break;
				case 15:
					r8 = p;
					break;
				case 16:
					ip9 = p;
					break;
				case 17:
					ip10 = p;
					break;
				case 18:
					ip11 = p;
					break;
				case 19:
					ip12 = p;
					break;
				case 20:
					ip13 = p;
					break;
				case 21:
					ip14 = p;
					break;
				case 22:
					ip15 = p;
					break;
				case 23:
					ip16 = p;
					break;
				case 24:
					r9 = p;
					break;
				case 25:
					r10 = p;
					break;
				case 26:
					r11 = p;
					break;
				case 27:
					r12 = p;
					break;
				case 28:
					r13 = p;
					break;
				case 29:
					r14 = p;
					break;
				case 30:
					r15 = p;
					break;
				case 31:
					r16 = p;
					break;
				default:
					break;
			}
			p = strtok(NULL, ",");
		}
	}
}
/* USER CODE END 4 */

void StartEthernet(void *argument)
{
  /* USER CODE BEGIN 5 */
	uint8_t i;
  /* Infinite loop */
  for(;;)
  {
	  for(i=4;i<_WIZCHIP_SOCK_NUM_;i++)
	  {
	  	tcp_http_mt(i, gDATABUF, port);
	  }
	  //4 sockets para modbus TCP
	  for(i=0;i<4;i++)
	  {
	  	tcp_http_mt(i, gDATABUF, 502);
	  }
  }
  /* USER CODE END 5 */
}

void StartReadInput1(void *argument)
{
  /* USER CODE BEGIN StartReadInput1 */
  /* Infinite loop */
  for(;;)
  {
	  inputs[0] = HAL_GPIO_ReadPin(OUT1_OP1_GPIO_Port, OUT1_OP1_Pin);
	  inputs[1] = HAL_GPIO_ReadPin(OUT1_OP2_GPIO_Port, OUT1_OP2_Pin);
	  inputs[2] = HAL_GPIO_ReadPin(OUT1_OP3_GPIO_Port, OUT1_OP3_Pin);
	  inputs[3] = HAL_GPIO_ReadPin(OUT1_OP4_GPIO_Port, OUT1_OP4_Pin);
    osDelay(1);
  }
  /* USER CODE END StartReadInput1 */
}

void StartReadInput2(void *argument)
{
  /* USER CODE BEGIN StartReadInput2 */
  /* Infinite loop */
  for(;;)
  {
	  inputs[4] = HAL_GPIO_ReadPin(OUT1_OP5_GPIO_Port, OUT1_OP5_Pin);
	  inputs[5] = HAL_GPIO_ReadPin(OUT1_OP6_GPIO_Port, OUT1_OP6_Pin);
	  inputs[6] = HAL_GPIO_ReadPin(OUT1_OP7_GPIO_Port, OUT1_OP7_Pin);
	  inputs[7] = HAL_GPIO_ReadPin(OUT1_OP8_GPIO_Port, OUT1_OP8_Pin);
    osDelay(1);
  }
  /* USER CODE END StartReadInput2 */
}

void StartReadInput3(void *argument)
{
  /* USER CODE BEGIN StartReadInput3 */
  /* Infinite loop */
  for(;;)
  {
	  inputs[8] = HAL_GPIO_ReadPin(OUT1_OP8_GPIO_Port, OUT1_OP9_Pin);
	  inputs[9] = HAL_GPIO_ReadPin(OUT1_OP9_GPIO_Port, OUT1_OP10_Pin);
	  inputs[10] = HAL_GPIO_ReadPin(OUT1_OP10_GPIO_Port, OUT1_OP11_Pin);
	  inputs[11] = HAL_GPIO_ReadPin(OUT1_OP11_GPIO_Port, OUT1_OP12_Pin);
    osDelay(1);
  }
  /* USER CODE END StartReadInput3 */
}

void StartReadInput4(void *argument)
{
  /* USER CODE BEGIN StartReadInput4 */
  /* Infinite loop */
  for(;;)
  {
	  inputs[12] = HAL_GPIO_ReadPin(OUT1_OP13_GPIO_Port, OUT1_OP13_Pin);
	  inputs[13] = HAL_GPIO_ReadPin(OUT1_OP14_GPIO_Port, OUT1_OP14_Pin);
	  inputs[14] = HAL_GPIO_ReadPin(OUT1_OP15_GPIO_Port, OUT1_OP15_Pin);
	  inputs[15] = HAL_GPIO_ReadPin(OUT1_OP16_GPIO_Port, OUT1_OP16_Pin);
    osDelay(1);
  }
  /* USER CODE END StartReadInput4 */
}

 /**
  * @brief  Period elapsed callback in non blocking mode
  * @note   This function is called  when TIM1 interrupt took place, inside
  * HAL_TIM_IRQHandler(). It makes a direct call to HAL_IncTick() to increment
  * a global variable "uwTick" used as application time base.
  * @param  htim : TIM handle
  * @retval None
  */
void HAL_TIM_PeriodElapsedCallback(TIM_HandleTypeDef *htim)
{
  if (htim->Instance == TIM1) {
    HAL_IncTick();
  }
}

void Error_Handler(void)
{
}

/************************ (C) COPYRIGHT STMicroelectronics *****END OF FILE****/
